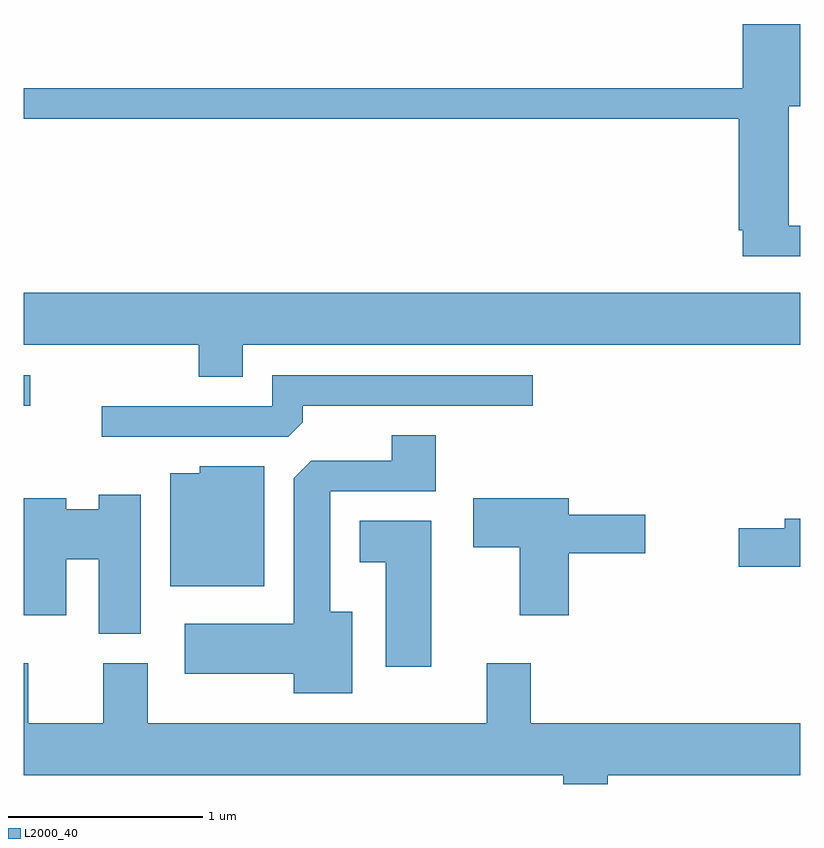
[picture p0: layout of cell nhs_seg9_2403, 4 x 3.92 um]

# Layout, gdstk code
import gdstk
lib = gdstk.Library(unit=1e-6, precision=1e-09)
def R(c, l, rs):  # rectangles x0, y0, x1, y1
    for r in rs: c.add(gdstk.rectangle(r[:2], r[2:], *l))
def P(c, l, *ps):  # polygons
    for p in ps: c.add(gdstk.Polygon(p, *l))
L2000_40 = (2000, 40)

nhs_seg9_2403 = lib.new_cell('nhs_seg9_2403')
R(nhs_seg9_2403, L2000_40, [(255.611,2000.381,255.643,2000.539)])
P(nhs_seg9_2403, L2000_40, [(259.611,2001.309),(259.554,2001.309),(259.554,2001.926),(259.611,2001.926),(259.611,2002.349),(259.316,2002.349),(259.316,2002.019),(255.611,2002.019),(255.611,2001.861),(259.296,2001.861),(259.296,2001.286),(259.316,2001.286),(259.316,2001.151),(259.611,2001.151)],
  [(256.739,2000.696),(259.611,2000.696),(259.611,2000.964),(255.611,2000.964),(255.611,2000.696),(256.511,2000.696),(256.511,2000.531),(256.739,2000.531)],
  [(257.049,2000.297),(257.049,2000.381),(258.233,2000.381),(258.233,2000.539),(256.891,2000.539),(256.891,2000.379),(256.013,2000.379),(256.013,2000.221),(256.974,2000.221)],
  [(257.304,1999.319),(257.189,1999.319),(257.189,1999.941),(257.734,1999.941),(257.734,2000.229),(257.506,2000.229),(257.506,2000.099),(257.092,2000.099),(257.001,2000.009),(257.001,1999.259),(256.441,1999.259),(256.441,1999.001),(257.001,1999.001),(257.001,1998.901),(257.304,1998.901)],
  [(256.849,2000.069),(256.516,2000.069),(256.516,2000.034),(256.366,2000.034),(256.366,1999.451),(256.849,1999.451)],
  [(256.214,1999.924),(255.996,1999.924),(255.996,1999.849),(255.829,1999.849),(255.829,1999.904),(255.611,1999.904),(255.611,1999.301),(255.829,1999.301),(255.829,1999.591),(255.996,1999.591),(255.996,1999.206),(256.214,1999.206)],
  [(258.419,1999.621),(258.814,1999.621),(258.814,1999.819),(258.419,1999.819),(258.419,1999.904),(257.926,1999.904),(257.926,1999.651),(258.166,1999.651),(258.166,1999.301),(258.419,1999.301)],
  [(259.611,1999.799),(259.531,1999.799),(259.531,1999.749),(259.296,1999.749),(259.296,1999.551),(259.611,1999.551)],
  [(257.709,1999.789),(257.341,1999.789),(257.341,1999.576),(257.476,1999.576),(257.476,1999.036),(257.709,1999.036)],
  [(258.619,1998.476),(259.611,1998.476),(259.611,1998.744),(258.224,1998.744),(258.224,1999.054),(257.996,1999.054),(257.996,1998.744),(256.249,1998.744),(256.249,1999.054),(256.021,1999.054),(256.021,1998.744),(255.634,1998.744),(255.634,1999.054),(255.611,1999.054),(255.611,1998.476),(258.391,1998.476),(258.391,1998.432),(258.619,1998.432)])

lib.write_gds('nhs_seg9_2403.gds')
